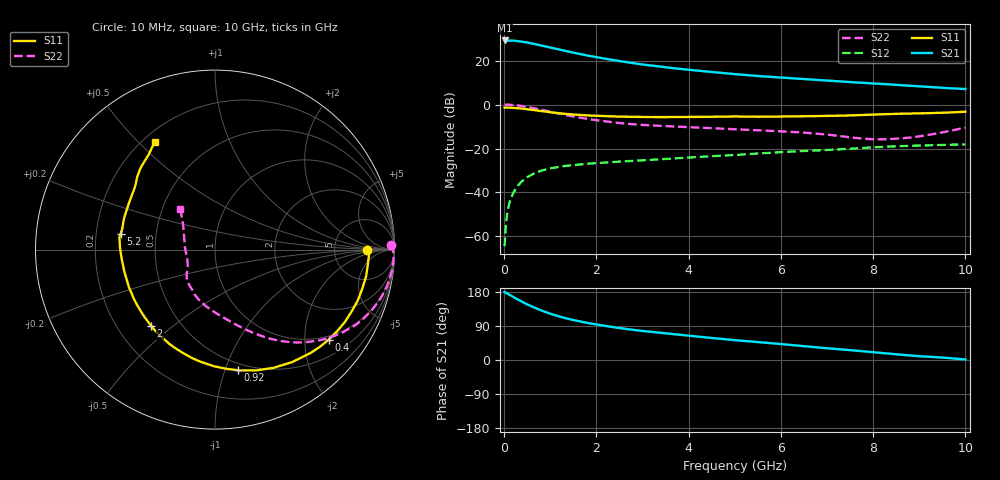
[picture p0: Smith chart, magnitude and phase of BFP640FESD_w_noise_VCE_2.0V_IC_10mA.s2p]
! Infineon Technologies  Discrete & RF Semiconductors
! BFP640FESD
! VCE =  2.0 V,  IC =  10 mA
! Common Emitter S-Parameters:  Jan 2016
# GHz  S  MA  R  50
!  f  S11  S21  S12  S22
! GHz  MAG  ANG  MAG  ANG  MAG  ANG  MAG  ANG
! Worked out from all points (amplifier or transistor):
!   233 points, 10 MHz to 10 GHz, reference 50 ohm
!   highest |S21| = 29.2 dB at 10 MHz (marker M1)
!   |S21| within 3 dB of that: start of sweep to 957.8 MHz
!   unconditionally stable (mu >= 1): 5.119 GHz to end of sweep
!   at 200 MHz: K = 0.04, MSG = 34.6 dB, |S12| = -40.2 dB
!   at 1.74 GHz: K = 0.49, MSG = 24.8 dB, |S12| = -27.1 dB
!   at 10 GHz: K = 1.13, MAG = 10.4 dB, |S12| = -18.1 dB
!   lowest NFmin = 0.67 dB at 450 MHz
!   S11 on the Smith chart (normalised r, x): 10 MHz: 12, -0; 400 MHz: 0.90, -2.60; 920 MHz: 0.44, -1.11; 2 GHz: 0.34, -0.42; 5.2 GHz: 0.31, +0.07; 10 GHz: 0.24, +0.56
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0.01  0.8494 -0.3  28.8 179.7  0.0006 65.3  0.9813 1.5
0.07  0.8548 -7.0  28.71 175.2  0.0035 85.4  0.9951 -4.1
0.2  0.8443 -19.7  28.49 166.3  0.0098 80.1  0.9789 -12.1
0.3  0.8281 -29.3  27.79 159.4  0.0143 75.3  0.9545 -17.8
0.4  0.808 -38.4  26.87 152.9  0.0185 70.8  0.9226 -23.3
0.5  0.7843 -47.3  25.82 146.7  0.0223 66.5  0.8859 -28.5
0.6  0.7597 -55.6  24.64 140.9  0.0256 62.8  0.8457 -33.2
0.7  0.7352 -63.6  23.46 135.7  0.0286 59.4  0.8052 -37.7
0.92  0.684 -79.2  20.82 125.5  0.0338 53.3  0.7181 -46.0
1.1  0.6496 -90.6  18.86 118.3  0.0371 49.5  0.6531 -51.9
1.3  0.6185 -101.7  16.91 111.3  0.0399 46.2  0.5897 -57.7
1.46  0.5976 -109.3  15.53 106.6  0.0417 44.4  0.5459 -61.8
1.68  0.5763 -118.9  13.92 100.8  0.0439 42.4  0.4963 -66.8
2  0.5542 -129.9  11.98 93.7  0.0466 40.6  0.4415 -73.3
2.6  0.5303 -147.5  9.414 82.6  0.0511 38.9  0.3715 -84.9
3.4  0.5192 -163.9  7.25 71.6  0.0569 38.7  0.3277 -96.6
4  0.5219 -173.6  6.192 64.1  0.0622 39.1  0.3075 -102.7
5.1  0.5349 171.6  4.836 51.4  0.0724 38.2  0.2714 -115.3
5.2  0.5333 170.6  4.74 50.4  0.0735 38.4  0.2688 -115.9
6.8  0.5475 150.0  3.628 33.2  0.0908 34.5  0.2168 -136.6
8.4  0.6118 133.1  2.855 16.1  0.1116 29.0  0.1651 -179.6
10  0.6888 119.2  2.257 1.4  0.1239 20.2  0.2983 130.5
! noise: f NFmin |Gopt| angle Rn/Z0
0.45  0.67  0.2  5  0.1
2.4  0.75  0.1  68  0.1
5.5  0.99  0.3  160  0.07
10  1.63  0.46  -117  0.24
